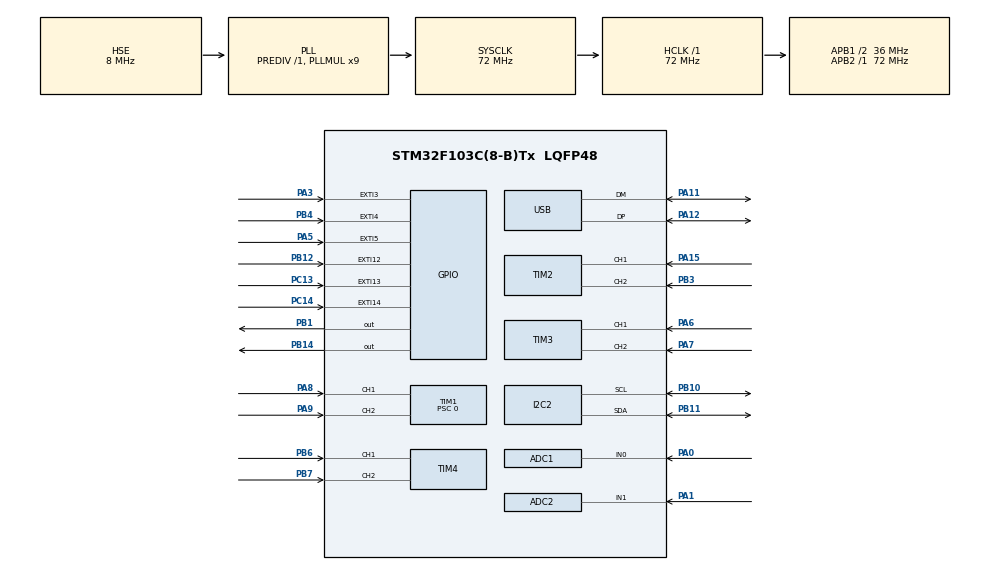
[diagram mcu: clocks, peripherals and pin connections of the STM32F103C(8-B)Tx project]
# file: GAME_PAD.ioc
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ADC1.Channel-0\#ChannelRegularConversion=ADC_CHANNEL_0
ADC1.NbrOfConversion=1
ADC1.NbrOfConversionFlag=1
ADC1.Rank-0\#ChannelRegularConversion=1
ADC1.SamplingTime-0\#ChannelRegularConversion=ADC_SAMPLETIME_239CYCLES_5
ADC1.master=1
ADC2.Channel-0\#ChannelRegularConversion=ADC_CHANNEL_1
ADC2.NbrOfConversionFlag=1
ADC2.Rank-0\#ChannelRegularConversion=1
ADC2.SamplingTime-0\#ChannelRegularConversion=ADC_SAMPLETIME_239CYCLES_5
Mcu.Family=STM32F1
Mcu.Name=STM32F103C(8-B)Tx
Mcu.Package=LQFP48
NVIC.EXTI15_10_IRQn=true\:1\:0\:true\:false\:true\:true\:true\:true
NVIC.EXTI3_IRQn=true\:0\:0\:false\:false\:true\:true\:true\:true
NVIC.EXTI4_IRQn=true\:1\:0\:true\:false\:true\:true\:true\:true
NVIC.EXTI9_5_IRQn=true\:2\:0\:true\:false\:true\:true\:true\:true
NVIC.PriorityGroup=NVIC_PRIORITYGROUP_4
NVIC.USB_LP_CAN1_RX0_IRQn=true\:0\:0\:false\:false\:true\:true\:true\:true
PA0-WKUP.Signal=ADCx_IN0
PA1.Signal=ADCx_IN1
PA11.Mode=Device
PA11.Signal=USB_DM
PA12.Mode=Device
PA12.Signal=USB_DP
PA13.Mode=Serial_Wire
PA13.Signal=SYS_JTMS-SWDIO
PA14.Mode=Serial_Wire
PA14.Signal=SYS_JTCK-SWCLK
PA15.GPIO_PuPd=GPIO_PULLUP
PA15.Signal=S_TIM2_CH1_ETR
PA3.GPIO_ModeDefaultEXTI=GPIO_MODE_IT_RISING
PA3.GPIO_PuPd=GPIO_PULLUP
PA3.Signal=GPXTI3
PA5.GPIO_ModeDefaultEXTI=GPIO_MODE_IT_RISING
PA5.GPIO_PuPd=GPIO_PULLUP
PA5.Signal=GPXTI5
PA6.Signal=S_TIM3_CH1
PA7.Signal=S_TIM3_CH2
PA8.Signal=S_TIM1_CH1
PA9.Signal=S_TIM1_CH2
PB1.PinState=GPIO_PIN_RESET
PB1.Signal=GPIO_Output
PB10.Mode=I2C
PB10.Signal=I2C2_SCL
PB11.Mode=I2C
PB11.Signal=I2C2_SDA
PB12.GPIO_PuPd=GPIO_PULLUP
PB12.Signal=GPXTI12
PB14.Signal=GPIO_Output
PB3.GPIO_PuPd=GPIO_PULLUP
PB3.Signal=S_TIM2_CH2
PB4.GPIO_ModeDefaultEXTI=GPIO_MODE_IT_RISING
PB4.GPIO_PuPd=GPIO_PULLUP
PB4.Signal=GPXTI4
PB6.Signal=S_TIM4_CH1
PB7.Signal=S_TIM4_CH2
PC13-TAMPER-RTC.GPIO_PuPd=GPIO_PULLUP
PC13-TAMPER-RTC.Signal=GPXTI13
PC14-OSC32_IN.GPIO_ModeDefaultEXTI=GPIO_MODE_IT_RISING
PC14-OSC32_IN.GPIO_PuPd=GPIO_PULLUP
PC14-OSC32_IN.Signal=GPXTI14
PD0-OSC_IN.Mode=HSE-External-Oscillator
PD0-OSC_IN.Signal=RCC_OSC_IN
PD1-OSC_OUT.Mode=HSE-External-Oscillator
PD1-OSC_OUT.Signal=RCC_OSC_OUT
ProjectManager.HeapSize=0x200
ProjectManager.StackSize=0x400
ProjectManager.TargetToolchain=STM32CubeIDE
RCC.ADCPresc=RCC_ADCPCLK2_DIV6
RCC.AHBFreq_Value=72000000
RCC.APB1CLKDivider=RCC_HCLK_DIV2
RCC.APB1Freq_Value=36000000
RCC.APB1TimFreq_Value=72000000
RCC.APB2Freq_Value=72000000
RCC.APB2TimFreq_Value=72000000
RCC.HCLKFreq_Value=72000000
RCC.PLLMUL=RCC_PLL_MUL9
RCC.PLLSourceVirtual=RCC_PLLSOURCE_HSE
RCC.SYSCLKFreq_VALUE=72000000
RCC.SYSCLKSource=RCC_SYSCLKSOURCE_PLLCLK
RCC.USBFreq_Value=48000000
RCC.USBPrescaler=RCC_USBCLKSOURCE_PLL_DIV1_5
SH.ADCx_IN0.0=ADC1_IN0,IN0
SH.ADCx_IN1.0=ADC2_IN1,IN1
SH.S_TIM1_CH1.0=TIM1_CH1,Encoder_Interface
SH.S_TIM1_CH2.0=TIM1_CH2,Encoder_Interface
SH.S_TIM2_CH1_ETR.0=TIM2_CH1,Encoder_Interface
SH.S_TIM2_CH2.0=TIM2_CH2,Encoder_Interface
SH.S_TIM3_CH1.0=TIM3_CH1,Encoder_Interface
SH.S_TIM3_CH2.0=TIM3_CH2,Encoder_Interface
SH.S_TIM4_CH1.0=TIM4_CH1,Encoder_Interface
SH.S_TIM4_CH2.0=TIM4_CH2,Encoder_Interface
TIM1.AutoReloadPreload=TIM_AUTORELOAD_PRELOAD_DISABLE
TIM1.EncoderMode=TIM_ENCODERMODE_TI12
TIM1.Period=\t65535
TIM1.Prescaler=0
TIM2.EncoderMode=TIM_ENCODERMODE_TI12
TIM3.EncoderMode=TIM_ENCODERMODE_TI12
TIM4.EncoderMode=TIM_ENCODERMODE_TI12
USB_DEVICE.CLASS_NAME_FS=HID
USB_DEVICE.VirtualMode=Hid
USB_DEVICE.VirtualModeFS=Hid_FS
VP_USB_DEVICE_VS_USB_DEVICE_HID_FS.Mode=HID_FS
board=custom

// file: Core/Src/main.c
/* USER CODE BEGIN Header */
/**
  ******************************************************************************
  * @file           : main.c
  * @brief          : Main program body
  ******************************************************************************
  * @attention
  *
  * Copyright (c) 2025 STMicroelectronics.
  * All rights reserved.
  *
  * This software is licensed under terms that can be found in the LICENSE file
  * in the root directory of this software component.
  * If no LICENSE file comes with this software, it is provided AS-IS.
  *
  ******************************************************************************
  */
/* USER CODE END Header */
#include "main.h"
#include "usb_device.h"

/* USER CODE BEGIN Includes */
//#include "usbd_cdc_if.h"
#include "usbd_hid.h"
#include "string.h"
#include "MCP23017.h"
#include "TLC59116.h"
/* USER CODE END Includes */

/* USER CODE BEGIN PTD */
extern USBD_HandleTypeDef hUsbDeviceFS;

typedef struct
{
//	uint16_t Keycode0;//x
//	uint16_t Keycode1;//y

	uint8_t Keycode0;//button 1-8
	uint8_t Keycode1;//button 9-16
	uint8_t Keycode2;//button 17-20

//	uint16_t Keycode4;
//	uint16_t Keycode5;

//	uint8_t Keycode6;
//	uint8_t Keycode7;
//	uint8_t Keycode8;
//	uint8_t Keycode9;
}keyboardHID;

keyboardHID keyboardhid={0};
/* USER CODE END PTD */

/* USER CODE BEGIN PD */
#define MCP23017_ADDR     (0x20 << 1) // Dịch trái 1 bit theo chuẩn HAL
#define IODIRA_REG        0x00
#define GPIOA_REG         0x12
#define IODIRB_REG        0x01
#define GPIOB_REG         0x13

#define REPORT_SIZE 5
/* USER CODE END PD */

ADC_HandleTypeDef hadc1;
ADC_HandleTypeDef hadc2;

I2C_HandleTypeDef hi2c2;

TIM_HandleTypeDef htim1;
TIM_HandleTypeDef htim2;
TIM_HandleTypeDef htim3;
TIM_HandleTypeDef htim4;

/* USER CODE BEGIN PV */
uint8_t portA;
/* USER CODE END PV */

void SystemClock_Config(void);
static void MX_GPIO_Init(void);
static void MX_ADC1_Init(void);
static void MX_ADC2_Init(void);
static void MX_TIM1_Init(void);
static void MX_TIM2_Init(void);
static void MX_TIM3_Init(void);
static void MX_TIM4_Init(void);
static void MX_I2C2_Init(void);

/* USER CODE BEGIN 0 */
uint8_t portA;
uint8_t portB;
int ADC_VAL;
int value_ledPWM;
int value_lcdPWM;

//Pulse poten1
volatile short pulseOld1=0;
volatile short pulsePre1=0;
volatile short pulseOld3=0;
volatile short pulsePre3=0;
volatile uint8_t ButtonPoten1 = 0;

//Pulse poten2
volatile short pulseOld2=0;
volatile short pulsePre2=0;
volatile short pulseOld4=0;
volatile short pulsePre4=0;
volatile uint8_t ButtonPoten2 = 0;

uint32_t HC165_DT;
uint8_t click_report[REPORT_SIZE] = {0};

void HAL_GPIO_EXTI_Callback(uint16_t GPIO_Pin)
{
  /* Prevent unused argument(s) compilation warning */
  UNUSED(GPIO_Pin);
  if(GPIO_Pin==GPIO_PIN_4){
	  ButtonPoten2 = 1;
  }
  if(GPIO_Pin==GPIO_PIN_5){
	  ButtonPoten1 = 1;
  }

}

/* USER CODE END 0 */

int main(void)
{

  /* MCU Configuration--------------------------------------------------------*/

  /* Reset of all peripherals, Initializes the Flash interface and the Systick. */
  HAL_Init();

  /* Configure the system clock */
  SystemClock_Config();

  /* Initialize all configured peripherals */
  MX_GPIO_Init();
  MX_ADC1_Init();
  MX_ADC2_Init();
  MX_TIM1_Init();
  MX_TIM2_Init();
  MX_TIM3_Init();
  MX_USB_DEVICE_Init();
  MX_TIM4_Init();
  MX_I2C2_Init();
  /* USER CODE BEGIN 2 */
  MCP23017_Init(&hi2c2);
  MCP23017_EnablePullUps(&hi2c2);

//  mode digital
  TLC59116_Init(&hi2c2);

  //mode pwm
  TLC59116_Set_All_PWM_Mode(&hi2c2);
//  HAL_TIM_PWM_Start(&htim1, TIM_CHANNEL_2);
//  HAL_TIMEx_PWMN_Start(&htim1, TIM_CHANNEL_2);
  HAL_TIM_Encoder_Start(&htim1, TIM_CHANNEL_1 | TIM_CHANNEL_2);
  HAL_TIM_Encoder_Start(&htim2, TIM_CHANNEL_1 | TIM_CHANNEL_2);
  HAL_TIM_Encoder_Start(&htim3, TIM_CHANNEL_1 | TIM_CHANNEL_2);
  HAL_TIM_Encoder_Start(&htim4, TIM_CHANNEL_1 | TIM_CHANNEL_2);
  /* USER CODE END 2 */

  /* Infinite loop */
  while (1)
  {

    /* USER CODE BEGIN 3 */
	//read pot
	pulsePre1 = __HAL_TIM_GET_COUNTER(&htim1);
	pulsePre2 = __HAL_TIM_GET_COUNTER(&htim2);
	pulsePre3 = __HAL_TIM_GET_COUNTER(&htim3);
	pulsePre4 = __HAL_TIM_GET_COUNTER(&htim4);
//
//	//	  read button
	portA = ~MCP23017_Read_GPIOA(&hi2c2);
	portB = ~MCP23017_Read_GPIOB(&hi2c2);
	portA = 0;
	portB = 0;

	//set status button buffer HID
	keyboardhid.Keycode0 = portA;
//	keyboardhid.Keycode6 = keyboardhid.Keycode6 | 0x01;//button1
//	keyboardhid.Keycode6 = keyboardhid.Keycode6 | 0x02;//button2
//	keyboardhid.Keycode6 = keyboardhid.Keycode6 | 0x04;//button3
//	keyboardhid.Keycode6 = keyboardhid.Keycode6 | 0x08;//button4
//	keyboardhid.Keycode6 = keyboardhid.Keycode6 | 0x10;//button5
//	keyboardhid.Keycode6 = keyboardhid.Keycode6 | 0x20;//button6
//	keyboardhid.Keycode6 = keyboardhid.Keycode6 | 0x40;//button7
//	keyboardhid.Keycode6 = keyboardhid.Keycode6 | 0x80;//button8
	keyboardhid.Keycode1 = portB;
//	keyboardhid.Keycode7 = keyboardhid.Keycode7 | 0x01;//button9
//	keyboardhid.Keycode7 = keyboardhid.Keycode7 | 0x02;//button10
//	keyboardhid.Keycode7 = keyboardhid.Keycode7 | 0x04;//button11
//	keyboardhid.Keycode7 = keyboardhid.Keycode7 | 0x08;//button12
//	keyboardhid.Keycode7 = keyboardhid.Keycode7 | 0x10;//button13
//	keyboardhid.Keycode7 = keyboardhid.Keycode7 | 0x20;//button14

	//set cursor status buffer HID
//	keyboardhid.Keycode0 = pulse1*50;
//	keyboardhid.Keycode1 = pulse2*50;

	//button on poten 1
	if(pulsePre1 > pulseOld1){
		pulseOld1 = pulsePre1;
		keyboardhid.Keycode1 = keyboardhid.Keycode1 | 0x40;
	}

	if(pulsePre1 < pulseOld1){
		pulseOld1 = pulsePre1;
		keyboardhid.Keycode1 = keyboardhid.Keycode1 | 0x80;
	}

	if(ButtonPoten1  == 1){
		keyboardhid.Keycode2 = keyboardhid.Keycode2 | 0x01;
		ButtonPoten1 = 0;
	}

	if(pulsePre3 > pulseOld3){
		pulseOld3 = pulsePre3;
		keyboardhid.Keycode2 = keyboardhid.Keycode2 | 0x02;
	}

	if(pulsePre3 < pulseOld3){
		pulseOld3 = pulsePre3;
		keyboardhid.Keycode2 = keyboardhid.Keycode2 | 0x04;
	}

	//button on poten 2
	if(pulsePre2 > pulseOld2){
		pulseOld2 = pulsePre2;
		keyboardhid.Keycode2 = keyboardhid.Keycode2 | 0x08;
	}
	if(pulsePre2 < pulseOld2){
		pulseOld2 = pulsePre2;
		keyboardhid.Keycode2 = keyboardhid.Keycode2 | 0x10;
	}

	if(ButtonPoten2  == 1){
		keyboardhid.Keycode2 = keyboardhid.Keycode2 | 0x20;
		ButtonPoten2 = 0;
	}

	if(pulsePre4 > pulseOld4){
		pulseOld4 = pulsePre4;
		keyboardhid.Keycode2 = keyboardhid.Keycode2 | 0x40;
	}
	if(pulsePre4 < pulseOld4){
		pulseOld4 = pulsePre4;
		keyboardhid.Keycode2 = keyboardhid.Keycode2 | 0x80;
	}

//
//
//
//	//button on poten 1
//	pulsePre1 = __HAL_TIM_GET_COUNTER(&htim2);
//	pulsePre2 = __HAL_TIM_GET_COUNTER(&htim3);
//
	USBD_HID_SendReport(&hUsbDeviceFS, &keyboardhid, sizeof (keyboardhid));
//	EnAPoten1 = 0;
//	EnBPoten1 = 0;
//	EnAPoten2 = 0;
//	EnBPoten2 = 0;
//	HAL_Delay(10);
//
//	//reset status button on poten
	keyboardhid.Keycode2 = keyboardhid.Keycode2 & 0x00;
//
//
////	//control led follow PWM
    HAL_ADC_Start(&hadc1);
    HAL_ADC_PollForConversion(&hadc1, 100);
    ADC_VAL = HAL_ADC_GetValue(&hadc1);
    HAL_ADC_Stop(&hadc1);
    value_ledPWM = (ADC_VAL * 255)/4095;
	for(uint8_t j = 0; j < 14; j++){
		TLC59116_Set_PWM(&hi2c2, j, value_ledPWM); // Tăng độ sáng OUT0
	}
//
////	//control lcd light
	HAL_ADC_Start(&hadc2);
	HAL_ADC_PollForConversion(&hadc2, 100);
	ADC_VAL = HAL_ADC_GetValue(&hadc2);
	HAL_ADC_Stop(&hadc2);
	value_lcdPWM = (ADC_VAL * 800)/4096;
    __HAL_TIM_SET_COMPARE(&htim1, TIM_CHANNEL_2, value_lcdPWM);

  }

  /* USER CODE END 3 */
}

void SystemClock_Config(void)
{
  RCC_OscInitTypeDef RCC_OscInitStruct = {0};
  RCC_ClkInitTypeDef RCC_ClkInitStruct = {0};
  RCC_PeriphCLKInitTypeDef PeriphClkInit = {0};

  /** Initializes the RCC Oscillators according to the specified parameters
  * in the RCC_OscInitTypeDef structure.
  */
  RCC_OscInitStruct.OscillatorType = RCC_OSCILLATORTYPE_HSE;
  RCC_OscInitStruct.HSEState = RCC_HSE_ON;
  RCC_OscInitStruct.HSEPredivValue = RCC_HSE_PREDIV_DIV1;
  RCC_OscInitStruct.HSIState = RCC_HSI_ON;
  RCC_OscInitStruct.PLL.PLLState = RCC_PLL_ON;
  RCC_OscInitStruct.PLL.PLLSource = RCC_PLLSOURCE_HSE;
  RCC_OscInitStruct.PLL.PLLMUL = RCC_PLL_MUL9;
  if (HAL_RCC_OscConfig(&RCC_OscInitStruct) != HAL_OK)
  {
    Error_Handler();
  }

  /** Initializes the CPU, AHB and APB buses clocks
  */
  RCC_ClkInitStruct.ClockType = RCC_CLOCKTYPE_HCLK|RCC_CLOCKTYPE_SYSCLK
                              |RCC_CLOCKTYPE_PCLK1|RCC_CLOCKTYPE_PCLK2;
  RCC_ClkInitStruct.SYSCLKSource = RCC_SYSCLKSOURCE_PLLCLK;
  RCC_ClkInitStruct.AHBCLKDivider = RCC_SYSCLK_DIV1;
  RCC_ClkInitStruct.APB1CLKDivider = RCC_HCLK_DIV2;
  RCC_ClkInitStruct.APB2CLKDivider = RCC_HCLK_DIV1;

  if (HAL_RCC_ClockConfig(&RCC_ClkInitStruct, FLASH_LATENCY_2) != HAL_OK)
  {
    Error_Handler();
  }
  PeriphClkInit.PeriphClockSelection = RCC_PERIPHCLK_ADC|RCC_PERIPHCLK_USB;
  PeriphClkInit.AdcClockSelection = RCC_ADCPCLK2_DIV6;
  PeriphClkInit.UsbClockSelection = RCC_USBCLKSOURCE_PLL_DIV1_5;
  if (HAL_RCCEx_PeriphCLKConfig(&PeriphClkInit) != HAL_OK)
  {
    Error_Handler();
  }
}

static void MX_ADC1_Init(void)
{

  ADC_ChannelConfTypeDef sConfig = {0};

  /** Common config
  */
  hadc1.Instance = ADC1;
  hadc1.Init.ScanConvMode = ADC_SCAN_DISABLE;
  hadc1.Init.ContinuousConvMode = DISABLE;
  hadc1.Init.DiscontinuousConvMode = DISABLE;
  hadc1.Init.ExternalTrigConv = ADC_SOFTWARE_START;
  hadc1.Init.DataAlign = ADC_DATAALIGN_RIGHT;
  hadc1.Init.NbrOfConversion = 1;
  if (HAL_ADC_Init(&hadc1) != HAL_OK)
  {
    Error_Handler();
  }

  /** Configure Regular Channel
  */
  sConfig.Channel = ADC_CHANNEL_0;
  sConfig.Rank = ADC_REGULAR_RANK_1;
  sConfig.SamplingTime = ADC_SAMPLETIME_239CYCLES_5;
  if (HAL_ADC_ConfigChannel(&hadc1, &sConfig) != HAL_OK)
  {
    Error_Handler();
  }

}

static void MX_ADC2_Init(void)
{

  ADC_ChannelConfTypeDef sConfig = {0};

  /** Common config
  */
  hadc2.Instance = ADC2;
  hadc2.Init.ScanConvMode = ADC_SCAN_DISABLE;
  hadc2.Init.ContinuousConvMode = DISABLE;
  hadc2.Init.DiscontinuousConvMode = DISABLE;
  hadc2.Init.ExternalTrigConv = ADC_SOFTWARE_START;
  hadc2.Init.DataAlign = ADC_DATAALIGN_RIGHT;
  hadc2.Init.NbrOfConversion = 1;
  if (HAL_ADC_Init(&hadc2) != HAL_OK)
  {
    Error_Handler();
  }

  /** Configure Regular Channel
  */
  sConfig.Channel = ADC_CHANNEL_1;
  sConfig.Rank = ADC_REGULAR_RANK_1;
  sConfig.SamplingTime = ADC_SAMPLETIME_239CYCLES_5;
  if (HAL_ADC_ConfigChannel(&hadc2, &sConfig) != HAL_OK)
  {
    Error_Handler();
  }

}

static void MX_I2C2_Init(void)
{

  hi2c2.Instance = I2C2;
  hi2c2.Init.ClockSpeed = 100000;
  hi2c2.Init.DutyCycle = I2C_DUTYCYCLE_2;
  hi2c2.Init.OwnAddress1 = 0;
  hi2c2.Init.AddressingMode = I2C_ADDRESSINGMODE_7BIT;
  hi2c2.Init.DualAddressMode = I2C_DUALADDRESS_DISABLE;
  hi2c2.Init.OwnAddress2 = 0;
  hi2c2.Init.GeneralCallMode = I2C_GENERALCALL_DISABLE;
  hi2c2.Init.NoStretchMode = I2C_NOSTRETCH_DISABLE;
  if (HAL_I2C_Init(&hi2c2) != HAL_OK)
  {
    Error_Handler();
  }

}

static void MX_TIM1_Init(void)
{

  TIM_Encoder_InitTypeDef sConfig = {0};
  TIM_MasterConfigTypeDef sMasterConfig = {0};

  htim1.Instance = TIM1;
  htim1.Init.Prescaler = 0;
  htim1.Init.CounterMode = TIM_COUNTERMODE_UP;
  htim1.Init.Period = 65535;
  htim1.Init.ClockDivision = TIM_CLOCKDIVISION_DIV1;
  htim1.Init.RepetitionCounter = 0;
  htim1.Init.AutoReloadPreload = TIM_AUTORELOAD_PRELOAD_DISABLE;
  sConfig.EncoderMode = TIM_ENCODERMODE_TI12;
  sConfig.IC1Polarity = TIM_ICPOLARITY_RISING;
  sConfig.IC1Selection = TIM_ICSELECTION_DIRECTTI;
  sConfig.IC1Prescaler = TIM_ICPSC_DIV1;
  sConfig.IC1Filter = 0;
  sConfig.IC2Polarity = TIM_ICPOLARITY_RISING;
  sConfig.IC2Selection = TIM_ICSELECTION_DIRECTTI;
  sConfig.IC2Prescaler = TIM_ICPSC_DIV1;
  sConfig.IC2Filter = 0;
  if (HAL_TIM_Encoder_Init(&htim1, &sConfig) != HAL_OK)
  {
    Error_Handler();
  }
  sMasterConfig.MasterOutputTrigger = TIM_TRGO_RESET;
  sMasterConfig.MasterSlaveMode = TIM_MASTERSLAVEMODE_DISABLE;
  if (HAL_TIMEx_MasterConfigSynchronization(&htim1, &sMasterConfig) != HAL_OK)
  {
    Error_Handler();
  }

}

static void MX_TIM2_Init(void)
{

  TIM_Encoder_InitTypeDef sConfig = {0};
  TIM_MasterConfigTypeDef sMasterConfig = {0};

  htim2.Instance = TIM2;
  htim2.Init.Prescaler = 0;
  htim2.Init.CounterMode = TIM_COUNTERMODE_UP;
  htim2.Init.Period = 65535;
  htim2.Init.ClockDivision = TIM_CLOCKDIVISION_DIV1;
  htim2.Init.AutoReloadPreload = TIM_AUTORELOAD_PRELOAD_DISABLE;
  sConfig.EncoderMode = TIM_ENCODERMODE_TI12;
  sConfig.IC1Polarity = TIM_ICPOLARITY_RISING;
  sConfig.IC1Selection = TIM_ICSELECTION_DIRECTTI;
  sConfig.IC1Prescaler = TIM_ICPSC_DIV1;
  sConfig.IC1Filter = 0;
  sConfig.IC2Polarity = TIM_ICPOLARITY_RISING;
  sConfig.IC2Selection = TIM_ICSELECTION_DIRECTTI;
  sConfig.IC2Prescaler = TIM_ICPSC_DIV1;
  sConfig.IC2Filter = 0;
  if (HAL_TIM_Encoder_Init(&htim2, &sConfig) != HAL_OK)
  {
    Error_Handler();
  }
  sMasterConfig.MasterOutputTrigger = TIM_TRGO_RESET;
  sMasterConfig.MasterSlaveMode = TIM_MASTERSLAVEMODE_DISABLE;
  if (HAL_TIMEx_MasterConfigSynchronization(&htim2, &sMasterConfig) != HAL_OK)
  {
    Error_Handler();
  }

}

static void MX_TIM3_Init(void)
{

  TIM_Encoder_InitTypeDef sConfig = {0};
  TIM_MasterConfigTypeDef sMasterConfig = {0};

  htim3.Instance = TIM3;
  htim3.Init.Prescaler = 0;
  htim3.Init.CounterMode = TIM_COUNTERMODE_UP;
  htim3.Init.Period = 65535;
  htim3.Init.ClockDivision = TIM_CLOCKDIVISION_DIV1;
  htim3.Init.AutoReloadPreload = TIM_AUTORELOAD_PRELOAD_DISABLE;
  sConfig.EncoderMode = TIM_ENCODERMODE_TI12;
  sConfig.IC1Polarity = TIM_ICPOLARITY_RISING;
  sConfig.IC1Selection = TIM_ICSELECTION_DIRECTTI;
  sConfig.IC1Prescaler = TIM_ICPSC_DIV1;
  sConfig.IC1Filter = 0;
  sConfig.IC2Polarity = TIM_ICPOLARITY_RISING;
  sConfig.IC2Selection = TIM_ICSELECTION_DIRECTTI;
  sConfig.IC2Prescaler = TIM_ICPSC_DIV1;
  sConfig.IC2Filter = 0;
  if (HAL_TIM_Encoder_Init(&htim3, &sConfig) != HAL_OK)
  {
    Error_Handler();
  }
  sMasterConfig.MasterOutputTrigger = TIM_TRGO_RESET;
  sMasterConfig.MasterSlaveMode = TIM_MASTERSLAVEMODE_DISABLE;
  if (HAL_TIMEx_MasterConfigSynchronization(&htim3, &sMasterConfig) != HAL_OK)
  {
    Error_Handler();
  }

}

static void MX_TIM4_Init(void)
{

  TIM_Encoder_InitTypeDef sConfig = {0};
  TIM_MasterConfigTypeDef sMasterConfig = {0};

  htim4.Instance = TIM4;
  htim4.Init.Prescaler = 0;
  htim4.Init.CounterMode = TIM_COUNTERMODE_UP;
  htim4.Init.Period = 65535;
  htim4.Init.ClockDivision = TIM_CLOCKDIVISION_DIV1;
  htim4.Init.AutoReloadPreload = TIM_AUTORELOAD_PRELOAD_DISABLE;
  sConfig.EncoderMode = TIM_ENCODERMODE_TI12;
  sConfig.IC1Polarity = TIM_ICPOLARITY_RISING;
  sConfig.IC1Selection = TIM_ICSELECTION_DIRECTTI;
  sConfig.IC1Prescaler = TIM_ICPSC_DIV1;
  sConfig.IC1Filter = 0;
  sConfig.IC2Polarity = TIM_ICPOLARITY_RISING;
  sConfig.IC2Selection = TIM_ICSELECTION_DIRECTTI;
  sConfig.IC2Prescaler = TIM_ICPSC_DIV1;
  sConfig.IC2Filter = 0;
  if (HAL_TIM_Encoder_Init(&htim4, &sConfig) != HAL_OK)
  {
    Error_Handler();
  }
  sMasterConfig.MasterOutputTrigger = TIM_TRGO_RESET;
  sMasterConfig.MasterSlaveMode = TIM_MASTERSLAVEMODE_DISABLE;
  if (HAL_TIMEx_MasterConfigSynchronization(&htim4, &sMasterConfig) != HAL_OK)
  {
    Error_Handler();
  }

}

static void MX_GPIO_Init(void)
{
  GPIO_InitTypeDef GPIO_InitStruct = {0};

  /* GPIO Ports Clock Enable */
  __HAL_RCC_GPIOC_CLK_ENABLE();
  __HAL_RCC_GPIOD_CLK_ENABLE();
  __HAL_RCC_GPIOA_CLK_ENABLE();
  __HAL_RCC_GPIOB_CLK_ENABLE();

  /*Configure GPIO pin Output Level */
  HAL_GPIO_WritePin(GPIOB, GPIO_PIN_1, GPIO_PIN_RESET);

  /*Configure GPIO pins : PC13 PC14 */
  GPIO_InitStruct.Pin = GPIO_PIN_13|GPIO_PIN_14;
  GPIO_InitStruct.Mode = GPIO_MODE_IT_RISING;
  GPIO_InitStruct.Pull = GPIO_PULLUP;
  HAL_GPIO_Init(GPIOC, &GPIO_InitStruct);

  /*Configure GPIO pins : PA3 PA5 */
  GPIO_InitStruct.Pin = GPIO_PIN_3|GPIO_PIN_5;
  GPIO_InitStruct.Mode = GPIO_MODE_IT_RISING;
  GPIO_InitStruct.Pull = GPIO_PULLUP;
  HAL_GPIO_Init(GPIOA, &GPIO_InitStruct);

  /*Configure GPIO pin : PB1 */
  GPIO_InitStruct.Pin = GPIO_PIN_1;
  GPIO_InitStruct.Mode = GPIO_MODE_OUTPUT_PP;
  GPIO_InitStruct.Pull = GPIO_NOPULL;
  GPIO_InitStruct.Speed = GPIO_SPEED_FREQ_LOW;
  HAL_GPIO_Init(GPIOB, &GPIO_InitStruct);

  /*Configure GPIO pins : PB12 PB4 */
  GPIO_InitStruct.Pin = GPIO_PIN_12|GPIO_PIN_4;
  GPIO_InitStruct.Mode = GPIO_MODE_IT_RISING;
  GPIO_InitStruct.Pull = GPIO_PULLUP;
  HAL_GPIO_Init(GPIOB, &GPIO_InitStruct);

  /* EXTI interrupt init*/
  HAL_NVIC_SetPriority(EXTI3_IRQn, 0, 0);
  HAL_NVIC_EnableIRQ(EXTI3_IRQn);

  HAL_NVIC_SetPriority(EXTI4_IRQn, 1, 0);
  HAL_NVIC_EnableIRQ(EXTI4_IRQn);

  HAL_NVIC_SetPriority(EXTI9_5_IRQn, 2, 0);
  HAL_NVIC_EnableIRQ(EXTI9_5_IRQn);

  HAL_NVIC_SetPriority(EXTI15_10_IRQn, 1, 0);
  HAL_NVIC_EnableIRQ(EXTI15_10_IRQn);

}

void Error_Handler(void)
{
  __disable_irq();
  while (1)
  {
  }
}
